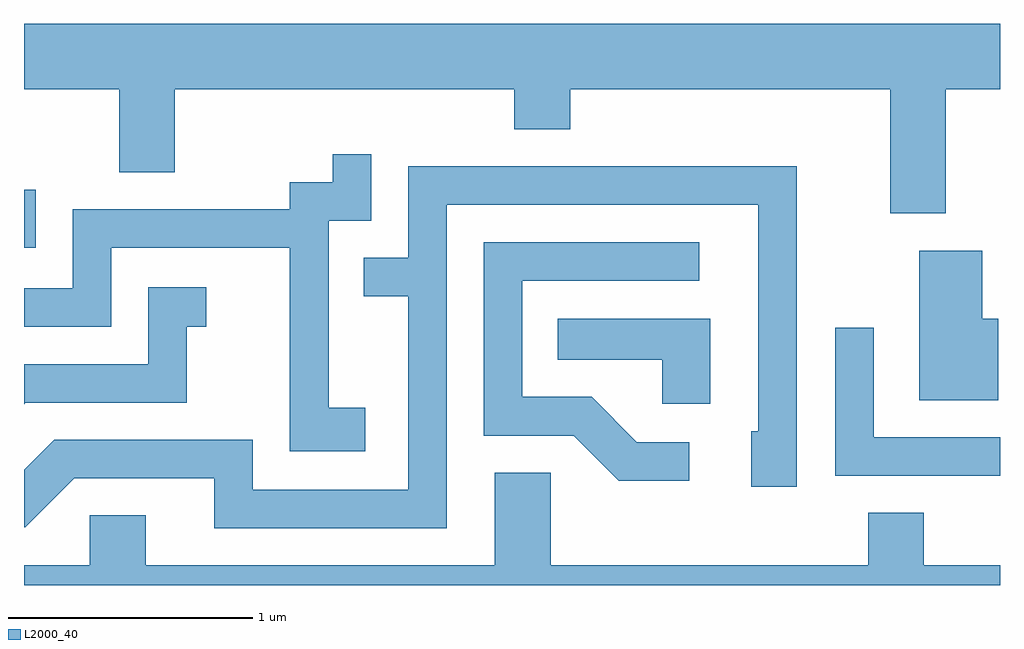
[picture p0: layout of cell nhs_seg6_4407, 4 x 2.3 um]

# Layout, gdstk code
import gdstk
lib = gdstk.Library(unit=1e-6, precision=1e-09)
def R(c, l, rs):  # rectangles x0, y0, x1, y1
    for r in rs: c.add(gdstk.rectangle(r[:2], r[2:], *l))
def P(c, l, *ps):  # polygons
    for p in ps: c.add(gdstk.Polygon(p, *l))
L2000_40 = (2000, 40)

nhs_seg6_4407 = lib.new_cell('nhs_seg6_4407')
R(nhs_seg6_4407, L2000_40, [(319.611,1611.546,319.659,1611.783)])
P(nhs_seg6_4407, L2000_40, [(323.389,1612.196),(323.611,1612.196),(323.611,1612.464),(319.611,1612.464),(319.611,1612.196),(320.001,1612.196),(320.001,1611.856),(320.229,1611.856),(320.229,1612.196),(321.621,1612.196),(321.621,1612.031),(321.849,1612.031),(321.849,1612.196),(323.161,1612.196),(323.161,1611.686),(323.389,1611.686)],
  [(321.009,1610.889),(320.859,1610.889),(320.859,1611.656),(321.034,1611.656),(321.034,1611.928),(320.876,1611.928),(320.876,1611.814),(320.701,1611.814),(320.701,1611.704),(319.811,1611.704),(319.811,1611.379),(319.611,1611.379),(319.611,1611.221),(319.969,1611.221),(319.969,1611.546),(320.701,1611.546),(320.701,1610.711),(321.009,1610.711)],
  [(321.344,1611.721),(322.621,1611.721),(322.621,1610.794),(322.591,1610.794),(322.591,1610.566),(322.779,1610.566),(322.779,1611.879),(321.186,1611.879),(321.186,1611.504),(321.003,1611.504),(321.003,1611.346),(321.186,1611.346),(321.186,1610.554),(320.549,1610.554),(320.549,1610.759),(319.734,1610.759),(319.611,1610.636),(319.611,1610.401),(319.617,1610.401),(319.817,1610.601),(320.391,1610.601),(320.391,1610.396),(321.344,1610.396)],
  [(322.338,1610.749),(322.122,1610.749),(321.937,1610.934),(321.654,1610.934),(321.654,1611.411),(322.378,1611.411),(322.378,1611.569),(321.496,1611.569),(321.496,1610.776),(321.864,1610.776),(322.049,1610.591),(322.338,1610.591)],
  [(323.604,1611.254),(323.539,1611.254),(323.539,1611.534),(323.281,1611.534),(323.281,1610.921),(323.604,1610.921)],
  [(319.617,1610.911),(320.279,1610.911),(320.279,1611.221),(320.358,1611.221),(320.358,1611.384),(320.121,1611.384),(320.121,1611.069),(319.611,1611.069),(319.611,1610.905)],
  [(322.424,1611.254),(321.798,1611.254),(321.798,1611.086),(322.226,1611.086),(322.226,1610.906),(322.424,1610.906)],
  [(323.611,1610.769),(323.094,1610.769),(323.094,1611.218),(322.936,1611.218),(322.936,1610.611),(323.611,1610.611)],
  [(323.611,1610.244),(323.299,1610.244),(323.299,1610.459),(323.071,1610.459),(323.071,1610.244),(321.769,1610.244),(321.769,1610.624),(321.541,1610.624),(321.541,1610.244),(320.109,1610.244),(320.109,1610.449),(319.881,1610.449),(319.881,1610.244),(319.611,1610.244),(319.611,1610.162),(323.611,1610.162)])

lib.write_gds('nhs_seg6_4407.gds')
